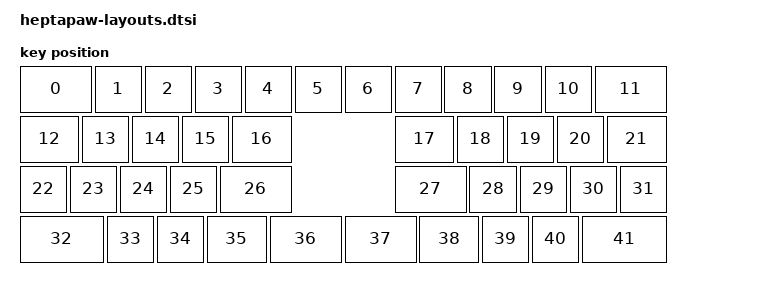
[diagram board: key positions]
#include <physical_layouts.dtsi>


/ { 
    physical_layout0: physical_layout_0 {
        compatible = "zmk,physical-layout";
        display-name = "Default";
        transform = <&default_transform>;
        kscan = <&kscan0>;

        keys  //                     w   h    x    y     rot    rx    ry
            = <&key_physical_attrs 150 100    0    0       0     0     0>
            , <&key_physical_attrs 100 100  150    0       0     0     0>
            , <&key_physical_attrs 100 100  250    0       0     0     0>
            , <&key_physical_attrs 100 100  350    0       0     0     0>
            , <&key_physical_attrs 100 100  450    0       0     0     0>
            , <&key_physical_attrs 100 100  550    0       0     0     0>
            , <&key_physical_attrs 100 100  650    0       0     0     0>
            , <&key_physical_attrs 100 100  750    0       0     0     0>
            , <&key_physical_attrs 100 100  850    0       0     0     0>
            , <&key_physical_attrs 100 100  950    0       0     0     0>
            , <&key_physical_attrs 100 100 1050    0       0     0     0>
            , <&key_physical_attrs 150 100 1150    0       0     0     0>
            , <&key_physical_attrs 125 100    0  100       0     0     0>
            , <&key_physical_attrs 100 100  125  100       0     0     0>
            , <&key_physical_attrs 100 100  225  100       0     0     0>
            , <&key_physical_attrs 100 100  325  100       0     0     0>
            , <&key_physical_attrs 125 100  425  100       0     0     0>
            , <&key_physical_attrs 125 100  750  100       0     0     0>
            , <&key_physical_attrs 100 100  875  100       0     0     0>
            , <&key_physical_attrs 100 100  975  100       0     0     0>
            , <&key_physical_attrs 100 100 1075  100       0     0     0>
            , <&key_physical_attrs 125 100 1175  100       0     0     0>
            , <&key_physical_attrs 100 100    0  200       0     0     0>
            , <&key_physical_attrs 100 100  100  200       0     0     0>
            , <&key_physical_attrs 100 100  200  200       0     0     0>
            , <&key_physical_attrs 100 100  300  200       0     0     0>
            , <&key_physical_attrs 150 100  400  200       0     0     0>
            , <&key_physical_attrs 150 100  750  200       0     0     0>
            , <&key_physical_attrs 100 100  900  200       0     0     0>
            , <&key_physical_attrs 100 100 1000  200       0     0     0>
            , <&key_physical_attrs 100 100 1100  200       0     0     0>
            , <&key_physical_attrs 100 100 1200  200       0     0     0>
            , <&key_physical_attrs 175 100    0  300       0     0     0>
            , <&key_physical_attrs 100 100  175  300       0     0     0>
            , <&key_physical_attrs 100 100  275  300       0     0     0>
            , <&key_physical_attrs 125 100  375  300       0     0     0>
            , <&key_physical_attrs 150 100  500  300       0     0     0>
            , <&key_physical_attrs 150 100  650  300       0     0     0>
            , <&key_physical_attrs 125 100  800  300       0     0     0>
            , <&key_physical_attrs 100 100  925  300       0     0     0>
            , <&key_physical_attrs 100 100 1025  300       0     0     0>
            , <&key_physical_attrs 175 100 1125  300       0     0     0>
            ;
    };
}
